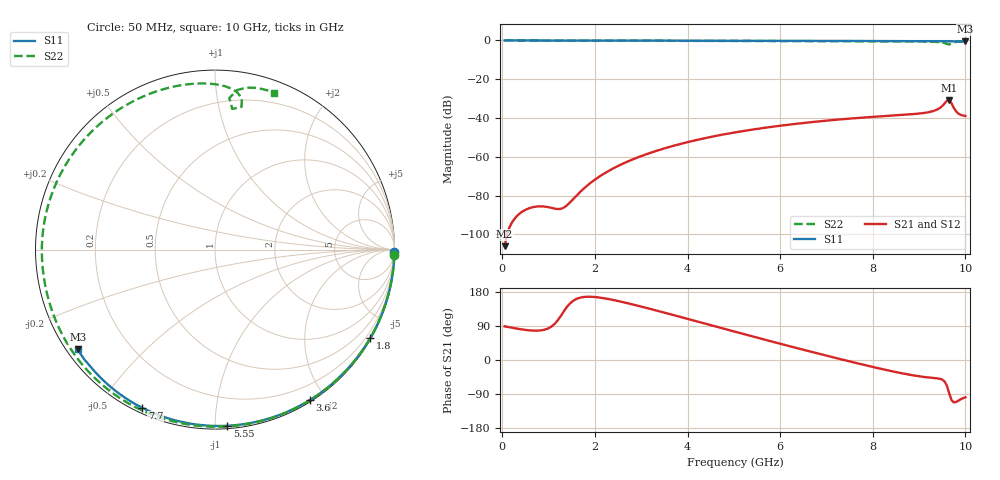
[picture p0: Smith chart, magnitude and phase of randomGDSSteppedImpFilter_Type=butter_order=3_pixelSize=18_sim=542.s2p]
! freq	dB(S11)	phase(S11)	dB(S12)	phase(S12)
!  dB(S21)	phase(S21)	dB(S22)	phase(S22)
!S-par simulation data
#  GHz  S  DB  R 50
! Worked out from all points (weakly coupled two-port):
!   200 points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, 50 MHz to 10 GHz, reference 50 ohm
!   highest |S21| = -30.63 dB at 9.65 GHz (marker M1); lowest = -106.1 dB at 50 MHz (marker M2)
!   lowest |S11| = -0.5 dB at 10 GHz (marker M3), VSWR 36.04, Z = 1.53 - j16.3 ohm
!   |S11| at or under -10 dB: nowhere
!   |S22| runs from -2.1 to 0.0 dB; largest |S21 - S12| = 0
!   S11 on the Smith chart (normalised r, x): 50 MHz: open; 1.8 GHz: 0.03, -3.79; 3.6 GHz: 0.02, -1.81; 5.55 GHz: 0.02, -1.07; 7.7 GHz: 0.02, -0.64; 10 GHz: 0.03, -0.33
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0.05  -0.00 -0.8  -106.06 88.8  -106.06 88.8  -0.00 -1.6
0.8  -0.02 -13.3  -85.53 77.8  -85.53 77.8  -0.03 -25.8
1.6  -0.03 -26.4  -80.06 161.0  -80.06 161.0  -0.06 -50.7
1.75  -0.04 -28.8  -76.57 166.1  -76.57 166.1  -0.07 -55.3
1.8  -0.04 -29.6  -75.51 166.7  -75.51 166.7  -0.07 -56.8
2.1  -0.04 -34.4  -70.12 164.8  -70.12 164.8  -0.08 -65.7
2.45  -0.05 -39.9  -65.30 157.0  -65.30 157.0  -0.10 -75.9
3.4  -0.07 -54.7  -56.37 128.2  -56.37 128.2  -0.13 -102.4
3.6  -0.08 -57.7  -54.96 121.8  -54.96 121.8  -0.13 -107.8
4.3  -0.10 -68.1  -50.77 98.7  -50.77 98.7  -0.16 -126.3
5.05  -0.12 -78.9  -47.30 73.8  -47.30 73.8  -0.21 -145.6
5.55  -0.14 -86.0  -45.42 57.4  -45.42 57.4  -0.26 -158.3
6.7  -0.20 -101.6  -42.05 20.8  -42.05 20.8  -0.32 172.1
7.7  -0.26 -114.7  -39.92 -9.6  -39.92 -9.6  -0.41 143.9
8.35  -0.32 -123.0  -38.86 -28.0  -38.86 -28.0  -0.48 123.9
9.25  -0.40 -134.4  -36.75 -46.7  -36.75 -46.7  -0.67 92.7
9.4  -0.42 -136.3  -35.49 -48.5  -35.49 -48.5  -0.80 86.5
9.55  -0.44 -138.1  -32.52 -56.6  -32.52 -56.6  -1.35 79.9
9.65  -0.43 -139.4  -30.63 -87.6  -30.63 -87.6  -2.05 83.0
9.7  -0.44 -140.1  -32.35 -105.6  -32.35 -105.6  -1.43 84.6
9.8  -0.45 -141.4  -36.59 -110.7  -36.59 -110.7  -0.74 79.1
10  -0.48 -144.0  -38.93 -98.4  -38.93 -98.4  -0.59 69.2
